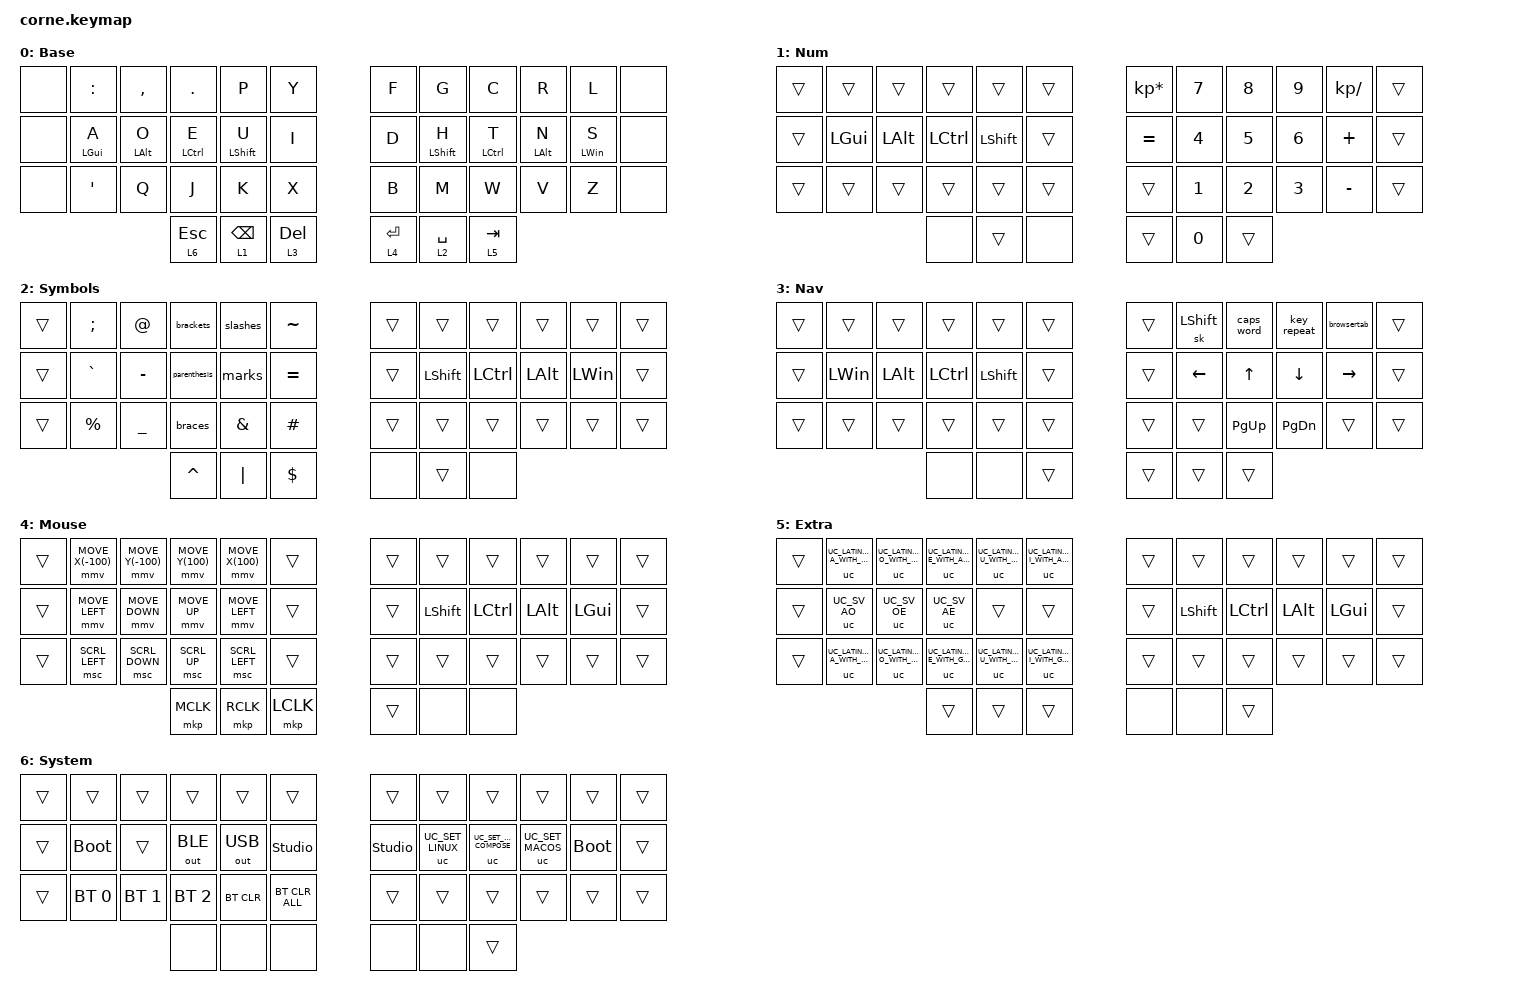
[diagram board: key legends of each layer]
#include <behaviors/unicode.dtsi>
#include <behaviors.dtsi>
#include <dt-bindings/zmk/bt.h>
#include <dt-bindings/zmk/keys.h>
#include <dt-bindings/zmk/outputs.h>
#include <dt-bindings/zmk/pointing.h>

#include <zmk-unicode/keys/blocks/latin_1_supplement.h>

#define BASE 0
#define NUMBERS 1
#define SYMBOLS 2
#define NAV 3
#define MOUSE 4
#define EXTRA 5
#define SYSTEM 6

#define FINGERS_LEFT_TOP      1  2  3  4  5
#define FINGERS_RIGHT_TOP     6  7  8  9 10
#define FINGERS_LEFT_MIDDLE  13 14 15 16 17
#define FINGERS_RIGHT_MIDDLE 18 19 20 21 22
#define FINGERS_LEFT_BOTTOM  25 26 27 28 29
#define FINGERS_RIGHT_BOTTOM 30 31 32 33 34

#define THUMBS_LEFT  36 37 38
#define THUMBS_RIGHT 39 40 41

#define HAND_RIGHT_KEYS FINGERS_RIGHT_TOP FINGERS_RIGHT_MIDDLE FINGERS_RIGHT_BOTTOM THUMBS_RIGHT
#define HAND_LEFT_KEYS FINGERS_LEFT_TOP FINGERS_LEFT_MIDDLE FINGERS_LEFT_BOTTOM THUMBS_LEFT

#define BASE_TIME 150
#define REPEAT_DECAY (BASE_TIME + 150)
#define STREAK_DECAY BASE_TIME
#define INDEX_HOLDING_TIME (BASE_TIME + 30)
#define MIDDY_HOLDING_TIME (BASE_TIME + 60)
#define RINGY_HOLDING_TIME (BASE_TIME + 90)
#define PINKY_HOLDING_TIME (BASE_TIME + 120)

&uc { default-mode = <UC_MODE_LINUX>; };

&lt { quick-tap-ms = <150>; };

/ {
    behaviors {
        hrm_left_pinky: hrm_left_pinky {
            compatible = "zmk,behavior-hold-tap";
            flavor = "tap-preferred";
            #binding-cells = <2>;

            tapping-term-ms = <PINKY_HOLDING_TIME>;
            quick-tap-ms = <REPEAT_DECAY>;
            require-prior-idle-ms = <STREAK_DECAY>;

            bindings = <&kp>, <&kp>;

            hold-trigger-key-positions = <HAND_RIGHT_KEYS>;
            hold-trigger-on-release;
        };

        hrm_left_ringy: hrm_left_ringy {
            compatible = "zmk,behavior-hold-tap";
            flavor = "tap-preferred";
            #binding-cells = <2>;

            tapping-term-ms = <RINGY_HOLDING_TIME>;
            quick-tap-ms = <REPEAT_DECAY>;
            require-prior-idle-ms = <STREAK_DECAY>;

            bindings = <&kp>, <&kp>;

            hold-trigger-key-positions = <HAND_RIGHT_KEYS>;
            hold-trigger-on-release;
        };

        hrm_left_middy: hrm_left_middy {
            compatible = "zmk,behavior-hold-tap";
            flavor = "tap-preferred";
            #binding-cells = <2>;

            tapping-term-ms = <MIDDY_HOLDING_TIME>;
            quick-tap-ms = <REPEAT_DECAY>;
            require-prior-idle-ms = <STREAK_DECAY>;

            bindings = <&kp>, <&kp>;

            hold-trigger-key-positions = <HAND_RIGHT_KEYS>;
            hold-trigger-on-release;
        };

        hrm_left_index: hrm_left_index {
            compatible = "zmk,behavior-hold-tap";
            flavor = "tap-preferred";
            #binding-cells = <2>;

            tapping-term-ms = <INDEX_HOLDING_TIME>;
            quick-tap-ms = <REPEAT_DECAY>;
            require-prior-idle-ms = <STREAK_DECAY>;

            bindings = <&kp>, <&kp>;

            hold-trigger-key-positions = <HAND_RIGHT_KEYS>;
            hold-trigger-on-release;
        };

        hrm_right_pinky: hrm_right_pinky {
            compatible = "zmk,behavior-hold-tap";
            flavor = "tap-preferred";
            #binding-cells = <2>;

            tapping-term-ms = <PINKY_HOLDING_TIME>;
            quick-tap-ms = <REPEAT_DECAY>;
            require-prior-idle-ms = <STREAK_DECAY>;

            bindings = <&kp>, <&kp>;

            hold-trigger-key-positions = <HAND_LEFT_KEYS>;
            hold-trigger-on-release;
        };

        hrm_right_ringy: hrm_right_ringy {
            compatible = "zmk,behavior-hold-tap";
            flavor = "tap-preferred";
            #binding-cells = <2>;

            tapping-term-ms = <RINGY_HOLDING_TIME>;
            quick-tap-ms = <REPEAT_DECAY>;
            require-prior-idle-ms = <STREAK_DECAY>;

            bindings = <&kp>, <&kp>;

            hold-trigger-key-positions = <HAND_LEFT_KEYS>;
            hold-trigger-on-release;
        };

        hrm_right_middy: hrm_right_middy {
            compatible = "zmk,behavior-hold-tap";
            flavor = "tap-preferred";
            #binding-cells = <2>;

            tapping-term-ms = <MIDDY_HOLDING_TIME>;
            quick-tap-ms = <REPEAT_DECAY>;
            require-prior-idle-ms = <STREAK_DECAY>;

            bindings = <&kp>, <&kp>;

            hold-trigger-key-positions = <HAND_LEFT_KEYS>;
            hold-trigger-on-release;
        };

        hrm_right_index: hrm_right_index {
            compatible = "zmk,behavior-hold-tap";
            flavor = "tap-preferred";
            #binding-cells = <2>;

            tapping-term-ms = <INDEX_HOLDING_TIME>;
            quick-tap-ms = <REPEAT_DECAY>;
            require-prior-idle-ms = <STREAK_DECAY>;

            bindings = <&kp>, <&kp>;

            hold-trigger-key-positions = <HAND_LEFT_KEYS>;
            hold-trigger-on-release;
        };

        parenthesis: parenthesis {
            compatible = "zmk,behavior-tap-dance";
            #binding-cells = <0>;
            bindings = <&kp LEFT_PARENTHESIS>, <&kp RIGHT_PARENTHESIS>;

            label = "PARENTHESIS";
        };

        brackets: brackets {
            compatible = "zmk,behavior-tap-dance";
            label = "BRACKETS";
            #binding-cells = <0>;
            bindings = <&kp LEFT_BRACKET>, <&kp RIGHT_BRACKET>;
        };

        braces: braces {
            compatible = "zmk,behavior-tap-dance";
            label = "BRACES";
            #binding-cells = <0>;
            bindings = <&kp LEFT_BRACE>, <&kp RIGHT_BRACE>;
        };

        slashes: slashes {
            compatible = "zmk,behavior-tap-dance";
            #binding-cells = <0>;
            bindings = <&kp SLASH>, <&kp BACKSLASH>;

            label = "SLASHES";
        };

        marks: marks {
            compatible = "zmk,behavior-tap-dance";
            #binding-cells = <0>;
            bindings = <&kp EXCL>, <&kp QUESTION>;

            label = "MARKS";
        };
    };

    macros {
        browsertab: browsertab {
            compatible = "zmk,behavior-macro";
            #binding-cells = <0>;
            bindings =
                <&macro_press>,
                <&kp LCTRL>,
                <&macro_tap>,
                <&kp TAB>,
                <&macro_release>,
                <&kp LCTRL>;
        };
    };

    combos {
        compatible = "zmk,combos";

        escape {
            timeout-ms = <30>;
            bindings = <&kp ESCAPE>;
            key-positions = <20 15>;
        };

        vimfind {
            timeout-ms = <30>;
            bindings = <&kp KP_DIVIDE>;
            key-positions = <16 19>;
        };

        vimcmd {
            bindings = <&kp COLON>;
            key-positions = <3 8>;
            timeout-ms = <30>;
        };

        tab {
            bindings = <&kp TAB>;
            key-positions = <14 21>;
        };
    };

    keymap {
        compatible = "zmk,keymap";

        BASE {
            display-name = "Base";
            bindings = <
&none  &kp COLON                    &kp COMMA                   &kp PERIOD                      &kp P                         &kp Y           &kp F        &kp G                          &kp C                            &kp R                        &kp L                        &none
&none  &hrm_left_pinky LEFT_GUI A   &hrm_left_ringy LEFT_ALT O  &hrm_left_middy LEFT_CONTROL E  &hrm_left_index LEFT_SHIFT U  &kp I           &kp D        &hrm_right_index LEFT_SHIFT H  &hrm_right_middy LEFT_CONTROL T  &hrm_right_ringy LEFT_ALT N  &hrm_right_pinky LEFT_WIN S  &none
&none  &kp SINGLE_QUOTE             &kp Q                       &kp J                           &kp K                         &kp X           &kp B        &kp M                          &kp W                            &kp V                        &kp Z                        &none
                                                                                             &lt 6 ESCAPE  &lt 1 BACKSPACE    &lt 3 DELETE    &lt 4 ENTER  &lt 2 SPACE        &lt 5 TAB
            >;
        };

        NUMBERS {
            display-name = "Num";
            bindings = <
&trans  &trans    &trans        &trans     &trans     &trans    &kp KP_MULTIPLY  &kp N7  &kp N8  &kp N9  &kp KP_DIVIDE  &trans
&trans  &kp LGUI  &kp LEFT_ALT  &kp LCTRL  &kp LSHFT  &trans    &kp EQUAL        &kp N4  &kp N5  &kp N6  &kp PLUS       &trans
&trans  &trans    &trans        &trans     &trans     &trans    &trans           &kp N1  &kp N2  &kp N3  &kp MINUS      &trans
                                &none      &trans     &none     &trans           &kp N0  &trans
            >;
        };

        SYMBOLS {
            display-name = "Symbols";
            bindings = <
&trans  &kp SEMI     &kp AT          &brackets     &slashes       &kp TILDE     &trans  &trans     &trans     &trans    &trans    &trans
&trans  &kp GRAVE    &kp MINUS       &parenthesis  &marks         &kp EQUAL     &trans  &kp LSHFT  &kp LCTRL  &kp LALT  &kp LWIN  &trans
&trans  &kp PERCENT  &kp UNDERSCORE  &braces       &kp AMPERSAND  &kp POUND     &trans  &trans     &trans     &trans    &trans    &trans
                                     &kp CARET     &kp PIPE       &kp DOLLAR    &none   &trans     &none
            >;
        };

        NAV {
            display-name = "Nav";
            bindings = <
&trans  &trans    &trans        &trans     &trans     &trans    &trans  &sk LSHFT       &caps_word    &key_repeat    &browsertab  &trans
&trans  &kp LWIN  &kp LEFT_ALT  &kp LCTRL  &kp LSHFT  &trans    &trans  &kp LEFT_ARROW  &kp UP_ARROW  &kp DOWN_ARROW       &kp RIGHT_ARROW    &trans
&trans  &trans    &trans        &trans     &trans     &trans    &trans  &trans          &kp PAGE_UP   &kp PAGE_DOWN  &trans       &trans
                                &none      &none      &trans    &trans  &trans          &trans
            >;
        };

        MOUSE {
            display-name = "Mouse";
            bindings = <
&trans  &mmv MOVE_X(-100)  &mmv MOVE_Y(-100)  &mmv MOVE_Y(100)  &mmv MOVE_X(100)  &trans       &trans  &trans     &trans     &trans        &trans        &trans
&trans  &mmv MOVE_LEFT     &mmv MOVE_DOWN     &mmv MOVE_UP      &mmv MOVE_LEFT   &trans       &trans  &kp LSHFT  &kp LCTRL  &kp LEFT_ALT  &kp LEFT_GUI  &trans
&trans  &msc SCRL_LEFT     &msc SCRL_DOWN     &msc SCRL_UP      &msc SCRL_LEFT   &trans       &trans  &trans     &trans     &trans        &trans        &trans
                                              &mkp MCLK         &mkp RCLK         &mkp LCLK    &trans  &none      &none
            >;
        };

        EXTRA {
            display-name = "Extra";
            bindings = <
&trans  &uc UC_LATIN_LETTER_A_WITH_ACUTE  &uc UC_LATIN_LETTER_O_WITH_ACUTE  &uc UC_LATIN_LETTER_E_WITH_ACUTE  &uc UC_LATIN_LETTER_U_WITH_ACUTE  &uc UC_LATIN_LETTER_I_WITH_ACUTE     &trans  &trans     &trans     &trans        &trans        &trans
&trans  &uc UC_SV_AO                      &uc UC_SV_OE                      &uc UC_SV_AE                      &trans                            &trans                               &trans  &kp LSHFT  &kp LCTRL  &kp LEFT_ALT  &kp LEFT_GUI  &trans
&trans  &uc UC_LATIN_LETTER_A_WITH_GRAVE  &uc UC_LATIN_LETTER_O_WITH_GRAVE  &uc UC_LATIN_LETTER_E_WITH_GRAVE  &uc UC_LATIN_LETTER_U_WITH_GRAVE  &uc UC_LATIN_LETTER_I_WITH_GRAVE     &trans  &trans     &trans     &trans        &trans        &trans
                                                                            &trans                            &trans                            &trans                               &none   &none      &trans
            >;
        };

        SYSTEM {
            display-name = "System";
            bindings = <
&trans  &trans        &trans        &trans        &trans        &trans            &trans          &trans            &trans                  &trans            &trans       &trans
&trans  &bootloader   &trans        &out OUT_BLE  &out OUT_USB  &studio_unlock    &studio_unlock  &uc UC_SET_LINUX  &uc UC_SET_WIN_COMPOSE  &uc UC_SET_MACOS  &bootloader  &trans
&trans  &bt BT_SEL 0  &bt BT_SEL 1  &bt BT_SEL 2  &bt BT_CLR    &bt BT_CLR_ALL    &trans          &trans            &trans                  &trans            &trans       &trans
                                    &none         &none         &none             &none           &none             &trans
            >;
        };
    };
};
